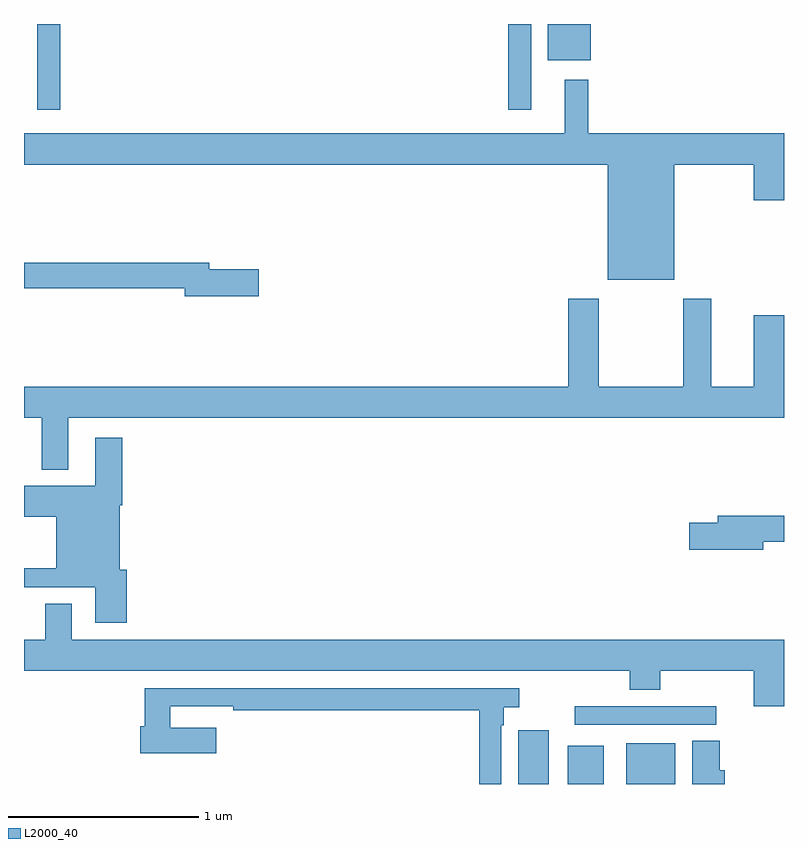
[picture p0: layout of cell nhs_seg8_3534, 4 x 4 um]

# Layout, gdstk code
import gdstk
lib = gdstk.Library(unit=1e-6, precision=1e-09)
def R(c, l, rs):  # rectangles x0, y0, x1, y1
    for r in rs: c.add(gdstk.rectangle(r[:2], r[2:], *l))
def P(c, l, *ps):  # polygons
    for p in ps: c.add(gdstk.Polygon(p, *l))
L2000_40 = (2000, 40)

nhs_seg8_3534 = lib.new_cell('nhs_seg8_3534')
R(nhs_seg8_3534, L2000_40, [(331.601,1119.9,331.762,1120.183), (331.862,1119.9,332.05,1120.102), (332.171,1119.9,332.428,1120.114), (331.899,1120.212,332.644,1120.308), (329.069,1123.449,329.191,1123.9), (331.548,1123.449,331.669,1123.9), (331.757,1123.709,331.984,1123.9)])
P(nhs_seg8_3534, L2000_40, [(332.422,1123.16),(332.84,1123.16),(332.84,1122.972),(333,1122.972),(333,1123.324),(331.969,1123.324),(331.969,1123.606),(331.847,1123.606),(331.847,1123.324),(329,1123.324),(329,1123.16),(332.072,1123.16),(332.072,1122.554),(332.422,1122.554)],
  [(330.235,1122.608),(329.974,1122.608),(329.974,1122.644),(329,1122.644),(329,1122.508),(329.846,1122.508),(329.846,1122.466),(330.235,1122.466)],
  [(329.233,1121.828),(333,1121.828),(333,1122.367),(332.84,1122.367),(332.84,1121.992),(332.617,1121.992),(332.617,1122.454),(332.47,1122.454),(332.47,1121.992),(332.025,1121.992),(332.025,1122.454),(331.865,1122.454),(331.865,1121.992),(329,1121.992),(329,1121.828),(329.093,1121.828),(329.093,1121.555),(329.233,1121.555)],
  [(329.54,1121.028),(329.503,1121.028),(329.503,1121.366),(329.516,1121.366),(329.516,1121.722),(329.375,1121.722),(329.375,1121.47),(329,1121.47),(329,1121.306),(329.171,1121.306),(329.171,1121.036),(329,1121.036),(329,1120.935),(329.375,1120.935),(329.375,1120.749),(329.54,1120.749)],
  [(332.89,1121.176),(333,1121.176),(333,1121.312),(332.651,1121.312),(332.651,1121.276),(332.502,1121.276),(332.502,1121.134),(332.89,1121.134)],
  [(333,1120.66),(329.251,1120.66),(329.251,1120.85),(329.111,1120.85),(329.111,1120.66),(329,1120.66),(329,1120.496),(332.189,1120.496),(332.189,1120.397),(332.349,1120.397),(332.349,1120.496),(332.84,1120.496),(332.84,1120.308),(333,1120.308)],
  [(331.512,1120.208),(331.524,1120.208),(331.524,1120.304),(331.606,1120.304),(331.606,1120.404),(329.635,1120.404),(329.635,1120.203),(329.612,1120.203),(329.612,1120.061),(330.013,1120.061),(330.013,1120.195),(329.771,1120.195),(329.771,1120.308),(330.1,1120.308),(330.1,1120.288),(331.396,1120.288),(331.396,1119.9),(331.512,1119.9)],
  [(332.689,1119.973),(332.663,1119.973),(332.663,1120.127),(332.516,1120.127),(332.516,1119.9),(332.689,1119.9)])

lib.write_gds('nhs_seg8_3534.gds')
